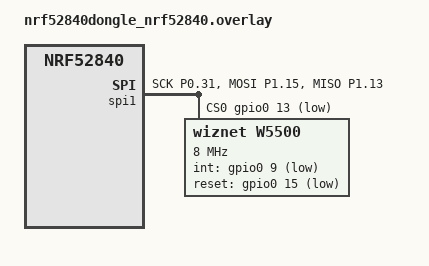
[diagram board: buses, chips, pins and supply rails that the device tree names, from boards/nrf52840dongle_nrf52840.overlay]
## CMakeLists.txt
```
cmake_minimum_required(VERSION 3.20.0)

find_package(Zephyr REQUIRED HINTS $ENV{ZEPHYR_BASE})
project(w5500_demo)

target_sources(app PRIVATE src/main.c)
```

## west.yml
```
manifest:
  self:
    path: app

  remotes:
    - name: upstream
      url-base: https://github.com/zephyrproject-rtos
    - name: tbk-gitea
      url-base: ssh://git@git.lan.tbk.fi:2222/tbk
    - name: tbk-github
      url-base: git@github.com/tbkfi

  projects:
    - name: zephyr
      remote: upstream
      revision: v4.4.2
      import: true

    - name: my_cli
      remote: tbk-github
      repo-path: zephyr-my_cli
      path: modules/my_cli
      revision: main

    - name: net_w5500
      remote: tbk-github
      repo-path: zephyr-net_w5500
      path: modules/net_w5500
      revision: main

    - name: net_w5500_led
      remote: tbk-github
      repo-path: zephyr-net_w5500_led
      path: modules/net_w5500_led
      revision: main
```

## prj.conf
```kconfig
# net_w5500
CONFIG_NET_W5500=y
CONFIG_NET_W5500_IP_DHCP=y
CONFIG_NET_W5500_PING_TARGET="192.168.10.1"

# my_cli
CONFIG_MY_CLI=y

# net_w5500_led
CONFIG_NET_W5500_LED=y

# Network
CONFIG_NETWORKING=y
CONFIG_NET_IPV4=y
CONFIG_NET_IPV6=n
CONFIG_NET_UDP=y
CONFIG_NET_SOCKETS=y
CONFIG_NET_L2_ETHERNET=y
CONFIG_NET_DHCPV4=y

# W5500 via SPI (Ethernet)
CONFIG_SPI=y
CONFIG_ETH_W5500=y

# General
CONFIG_REBOOT=y
CONFIG_LOG=y
CONFIG_NET_LOG=y
```

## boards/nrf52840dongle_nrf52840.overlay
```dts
&pinctrl {
	spi1_w5500_default: spi1_w5500_default {
		group1 {
			psels = <NRF_PSEL(SPIM_SCK, 0, 31)>,
				<NRF_PSEL(SPIM_MOSI, 1, 15)>,
				<NRF_PSEL(SPIM_MISO, 1, 13)>;
		};
	};

	spi1_w5500_sleep: spi1_w5500_sleep {
		group1 {
			psels = <NRF_PSEL(SPIM_SCK, 0, 31)>,
				<NRF_PSEL(SPIM_MOSI, 1, 15)>,
				<NRF_PSEL(SPIM_MISO, 1, 13)>;
			low-power-enable;
		};
	};
};

&spi1 {
	pinctrl-0 = <&spi1_w5500_default>;
	pinctrl-1 = <&spi1_w5500_sleep>;
	pinctrl-names = "default", "sleep";

	cs-gpios = <&gpio0 13 GPIO_ACTIVE_LOW>;

	w5500: eth@0 {
		compatible = "wiznet,w5500";
		reg = <0>;
		spi-max-frequency = <8000000>;
		int-gpios = <&gpio0 9 GPIO_ACTIVE_LOW>;
		reset-gpios = <&gpio0 15 GPIO_ACTIVE_LOW>;
		zephyr,random-mac-address;
	};
};
```

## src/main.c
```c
#include <zephyr/kernel.h>
#include <zephyr/logging/log.h>
#include <zephyr/net/net_if.h>

#include <my_cli/w5500_cmds.h>
#include <net_w5500/net_w5500.h>
#include <net_w5500_led/net_w5500_led.h>

LOG_MODULE_REGISTER(main, LOG_LEVEL_INF);


// LED fault codes
#define FAULT_NET_W5500_INIT   2
#define FAULT_NET_W5500_THREAD 3
#define FAULT_NO_IP_LEASE      4


int main(void) {
	int rc;

	// Application and Module ctx
	// TODO: app by Pavel
	static struct net_w5500_ctx w5500_ctx;

	// W5500 Setup
	rc = net_w5500_led_init();
	if (rc < 0) {
		// Warn is enough
		LOG_WRN("net_w5500_led_init failed: %d (status LEDs unavailable)", ret);
	}

	w5500_ctx.iface = net_if_get_default();
	rc = net_w5500_init(&w5500_ctx);
	if (rc < 0) {
		LOG_ERR("net_w5500_init failed: %d", ret);
		net_w5500_led_signal_fault(FAULT_NET_W5500_INIT);
	}

	rc = net_w5500_thread_create(&w5500_ctx);
	if (rc < 0) {
		LOG_ERR("net_w5500_thread_create failed: %d", ret);
		net_w5500_led_signal_fault(FAULT_NET_W5500_THREAD);
	}

	w5500_cmds_set_ctx(&w5500_ctx);

	rc = net_w5500_start_dhcp(&w5500_ctx);
	if (rc < 0) {
		LOG_ERR("net_w5500_start_dhcp failed: %d", ret);
	}

	rc = net_w5500_wait_for_ip(&w5500_ctx, K_SECONDS(30));
	if (rc < 0) {
		LOG_WRN("no IPv4 address assigned within timeout: %d", ret);
		net_w5500_led_signal_fault(FAULT_NO_IP_LEASE);
	}

	LOG_INF("IPv4 address assigned");
	net_w5500_led_set_power(true);
	net_w5500_led_pulse_activity();

	LOG_INF("Boot Sequence Complete");

	return 0;
}
```
